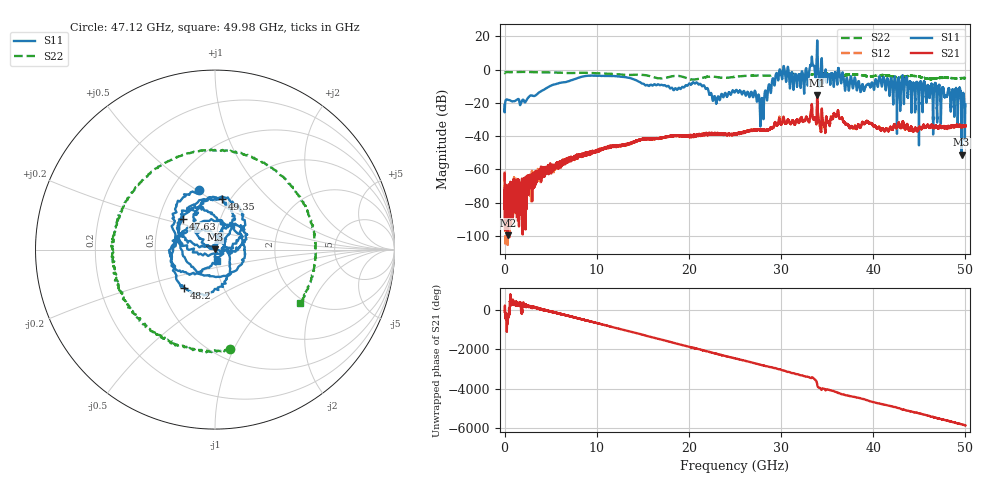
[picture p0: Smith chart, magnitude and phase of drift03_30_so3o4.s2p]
!Created with skrf (http://scikit-rf.org).
# Hz S RI R 50.0
!freq ReS11 ImS11 ReS21 ImS21 ReS12 ImS12 ReS22 ImS22
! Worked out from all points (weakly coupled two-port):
!   10001 points, 300 kHz to 50 GHz, reference 50 ohm
!   highest |S21| = -15.29 dB at 33.92 GHz (marker M1); lowest = -99.5 dB at 335.3 MHz (marker M2)
!   lowest |S11| = -51.1 dB at 49.58 GHz (marker M3), VSWR 1.01, Z = 49.9 + j0.244 ohm
!   |S11| at or under -10 dB: start of sweep to 4.851 GHz; 21.69 GHz to 28.62 GHz (6.933 GHz wide, 27.6 % of centre); 47.19 GHz to end of sweep (the widest 3 of 40)
!   |S22| runs from -5.9 to -1.3 dB; largest |S21 - S12| = 0.017
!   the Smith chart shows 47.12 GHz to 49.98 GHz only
!   S11 on the Smith chart (normalised r, x): 47.12 GHz: 0.68, +0.51; 47.63 GHz: 0.66, +0.24; 48.2 GHz: 0.65, -0.30; 49.35 GHz: 0.92, +0.56; 49.98 GHz: 1.01, -0.13
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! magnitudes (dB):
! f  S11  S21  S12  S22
! 300 kHz  -21.3  -62.0  -62.0  -2.1
! 335.3 MHz  -18.0  -99.5  -96.5  -1.4
! 8.335 GHz  -4.3  -51.9  -51.1  -1.9
! 16.67 GHz  -8.8  -41.5  -41.2  -5.2
! 21.01 GHz  -8.7  -39.6  -39.3  -5.5
! 22.81 GHz  -16.1  -38.0  -38.3  -4.2
! 25 GHz  -13.4  -38.5  -38.9  -4.3
! 27.02 GHz  -15.7  -36.3  -36.1  -3.5
! 27.92 GHz  -17.1  -36.3  -36.5  -3.5
! 29.69 GHz  -6.5  -32.0  -31.7  -3.1
! 32.32 GHz  -1.5  -30.5  -30.6  -3.3
! 33.34 GHz  7.8  -20.7  -21.0  -2.9
! 33.92 GHz  17.6  -15.3  -15.6  -2.5
! 38.82 GHz  -8.9  -31.4  -31.7  -3.4
! 41.67 GHz  -9.0  -36.8  -36.6  -3.7
! 47.12 GHz  -9.3  -35.0  -34.7  -5.0
! 47.63 GHz  -12.1  -34.5  -34.4  -4.7
! 48.2 GHz  -11.2  -34.4  -33.9  -4.9
! 49.35 GHz  -10.9  -34.0  -33.5  -5.1
! 49.58 GHz  -51.1  -34.2  -33.8  -5.0
! 49.98 GHz  -24.0  -33.9  -34.1  -5.0
! 50 GHz  -20.9  -33.4  -33.5  -5.0
